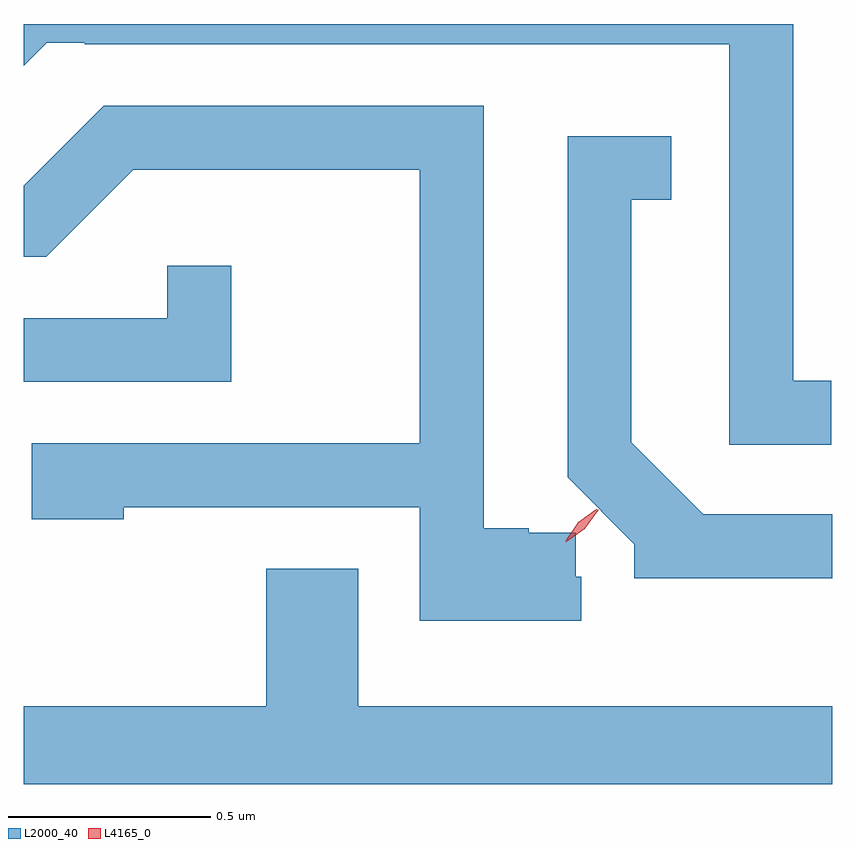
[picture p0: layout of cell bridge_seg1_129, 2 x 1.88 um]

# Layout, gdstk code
import gdstk
lib = gdstk.Library(unit=1e-6, precision=1e-09)
def P(c, l, *ps):  # polygons
    for p in ps: c.add(gdstk.Polygon(p, *l))
L2000_40 = (2000, 40)
L4165_0 = (4165, 0)

bridge_seg1_129 = lib.new_cell('bridge_seg1_129')
P(bridge_seg1_129, L2000_40, [(1452.378,840.709),(1452.284,840.709),(1452.284,841.591),(1450.381,841.591),(1450.381,841.488),(1450.438,841.545),(1450.532,841.545),(1450.532,841.541),(1452.126,841.541),(1452.126,840.551),(1452.378,840.551)],
  [(1451.76,840.225),(1451.746,840.225),(1451.746,840.333),(1451.63,840.333),(1451.63,840.344),(1451.519,840.344),(1451.519,841.389),(1450.579,841.389),(1450.381,841.191),(1450.381,841.016),(1450.437,841.016),(1450.652,841.231),(1451.361,841.231),(1451.361,840.554),(1450.401,840.554),(1450.401,840.366),(1450.629,840.366),(1450.629,840.396),(1451.361,840.396),(1451.361,840.116),(1451.76,840.116)],
  [(1452.381,840.379),(1452.062,840.379),(1451.884,840.557),(1451.884,841.156),(1451.983,841.156),(1451.983,841.314),(1451.726,841.314),(1451.726,840.47),(1451.891,840.305),(1451.891,840.221),(1452.381,840.221)],
  [(1450.894,840.993),(1450.736,840.993),(1450.736,840.864),(1450.381,840.864),(1450.381,840.706),(1450.894,840.706)],
  [(1452.381,839.904),(1451.209,839.904),(1451.209,840.244),(1450.981,840.244),(1450.981,839.904),(1450.381,839.904),(1450.381,839.712),(1452.381,839.712)])
P(bridge_seg1_129, L4165_0, [(1451.721,840.31),(1451.721,840.31),(1451.754,840.357),(1451.801,840.39),(1451.802,840.39),(1451.802,840.389),(1451.768,840.343),(1451.722,840.31)],
  [(1451.721,840.313),(1451.721,840.314),(1451.752,840.359),(1451.797,840.391),(1451.798,840.391),(1451.798,840.39),(1451.766,840.345),(1451.722,840.313)])

lib.write_gds('bridge_seg1_129.gds')
